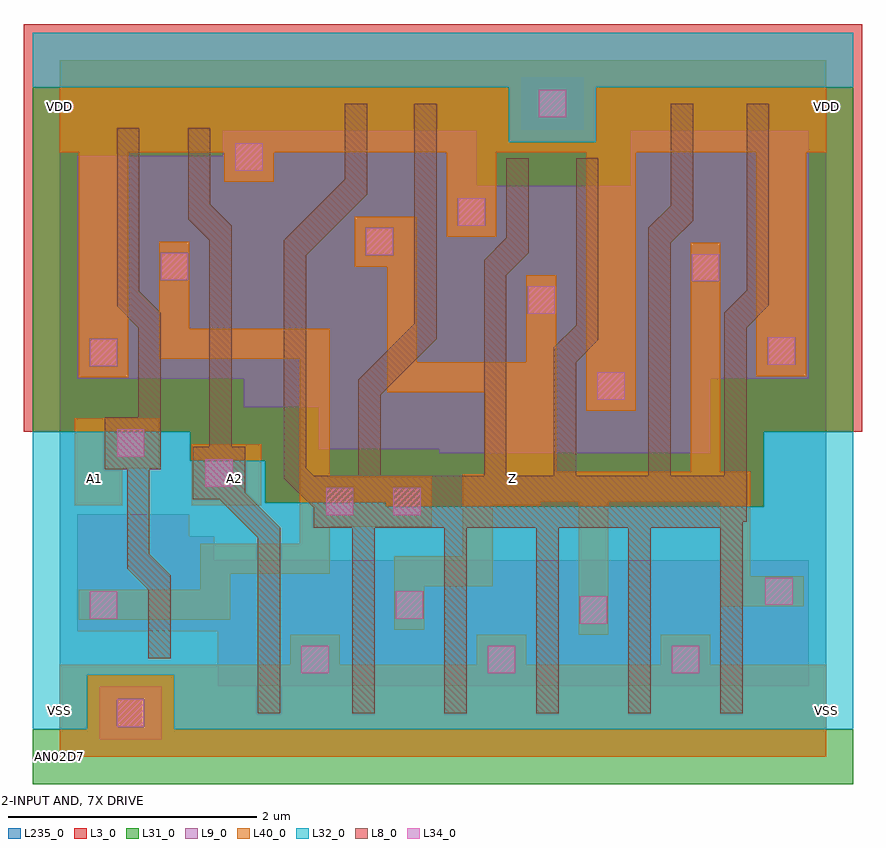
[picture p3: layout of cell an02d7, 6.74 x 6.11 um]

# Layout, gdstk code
import gdstk
lib = gdstk.Library(unit=1e-6, precision=1e-09)
def R(c, l, rs):  # rectangles x0, y0, x1, y1
    for r in rs: c.add(gdstk.rectangle(r[:2], r[2:], *l))
def P(c, l, *ps):  # polygons
    for p in ps: c.add(gdstk.Polygon(p, *l))
L3_0 = (3, 0)
L8_0 = (8, 0)
L9_0 = (9, 0)
L31_0 = (31, 0)
L32_0 = (32, 0)
L34_0 = (34, 0)
L40_0 = (40, 0)
L235_0 = (235, 0)

an02d7 = lib.new_cell('an02d7')
P(an02d7, L3_0, [(2.62,2.01),(2.62,2.04),(1.65,2.04),(1.65,2.38),(1.05,2.38),(1.05,2.61),(-0.29,2.61),(-0.29,5.89),(6.45,5.89),(6.45,2.61),(5.66,2.61),(5.66,2.01)])
P(an02d7, L8_0, [(1.59,0.35),(1.59,1.76),(1.28,2.07),(1.07,2.07),(1.07,2.49),(1.2,2.49),(1.2,4.15),(1.03,4.32),(1.03,5.05),(1.21,5.05),(1.21,4.44),(1.38,4.27),(1.38,2.49),(1.49,2.49),(1.49,2.12),(1.77,1.84),(1.77,0.35)],
  [(0.71,0.79),(0.71,1.34),(0.54,1.51),(0.54,2.31),(0.36,2.31),(0.36,2.73),(0.63,2.73),(0.63,3.45),(0.46,3.62),(0.46,5.05),(0.64,5.05),(0.64,3.74),(0.81,3.57),(0.81,2.31),(0.72,2.31),(0.72,1.63),(0.89,1.46),(0.89,0.79)],
  [(2.35,0.35),(2.35,1.84),(2.04,1.84),(2.04,2),(1.8,2.24),(1.8,4.15),(2.29,4.64),(2.29,5.25),(2.47,5.25),(2.47,4.52),(1.98,4.03),(1.98,2.32),(2.04,2.26),(2.4,2.26),(2.4,3.03),(2.85,3.48),(2.85,5.25),(3.03,5.25),(3.03,3.36),(2.58,2.91),(2.58,2.26),(3.41,2.26),(3.41,3.99),(3.59,4.17),(3.59,4.81),(3.77,4.81),(3.77,4.05),(3.59,3.87),(3.59,2.26),(3.97,2.26),(3.97,3.29),(4.15,3.47),(4.15,4.81),(4.33,4.81),(4.33,3.35),(4.15,3.17),(4.15,2.26),(4.73,2.26),(4.73,4.25),(4.91,4.43),(4.91,5.25),(5.09,5.25),(5.09,4.31),(4.91,4.13),(4.91,2.26),(5.34,2.26),(5.34,3.57),(5.52,3.75),(5.52,5.25),(5.7,5.25),(5.7,3.63),(5.52,3.45),(5.52,1.89),(5.49,1.89),(5.49,0.35),(5.31,0.35),(5.31,1.84),(4.75,1.84),(4.75,0.35),(4.57,0.35),(4.57,1.84),(4.01,1.84),(4.01,0.35),(3.83,0.35),(3.83,1.84),(3.27,1.84),(3.27,0.35),(3.09,0.35),(3.09,1.84),(2.53,1.84),(2.53,0.35)])
R(an02d7, L9_0, [(0.32,0.14,0.82,0.56), (3.71,5.04,4.21,5.46)])
P(an02d7, L9_0, [(1.27,0.57),(1.27,1.01),(0.14,1.01),(0.14,1.95),(1.04,1.95),(1.04,1.77),(1.24,1.77),(1.24,1.58),(6.02,1.58),(6.02,0.57)],
  [(3.05,2.44),(3.05,2.47),(2.08,2.47),(2.08,2.81),(1.48,2.81),(1.48,3.04),(0.14,3.04),(0.14,4.83),(1.31,4.83),(1.31,5.03),(3.35,5.03),(3.35,4.59),(4.59,4.59),(4.59,5.03),(6.02,5.03),(6.02,3.04),(5.23,3.04),(5.23,2.44)])
P(an02d7, L31_0, [(-0.22,-0.22),(-0.22,0.22),(0.22,0.22),(0.22,0.66),(0.92,0.66),(0.92,0.22),(6.38,0.22),(6.38,-0.22)],
  [(2.62,2.01),(2.62,2.04),(1.65,2.04),(1.65,2.38),(1.05,2.38),(1.05,2.61),(-0.22,2.61),(-0.22,5.38),(3.61,5.38),(3.61,4.94),(4.31,4.94),(4.31,5.38),(6.38,5.38),(6.38,2.61),(5.66,2.61),(5.66,2.01)])
P(an02d7, L32_0, [(-0.22,0.22),(-0.22,2.61),(1.05,2.61),(1.05,2.38),(1.65,2.38),(1.65,2.04),(2.62,2.04),(2.62,2.01),(5.66,2.01),(5.66,2.61),(6.38,2.61),(6.38,0.22),(0.92,0.22),(0.92,0.66),(0.22,0.66),(0.22,0.22)],
  [(3.61,4.94),(3.61,5.38),(-0.22,5.38),(-0.22,5.82),(6.38,5.82),(6.38,5.38),(4.31,5.38),(4.31,4.94)])
R(an02d7, L34_0, [(0.46,0.24,0.68,0.46), (1.94,0.67,2.16,0.89), (3.44,0.67,3.66,0.89), (4.92,0.67,5.14,0.89), (4.18,1.07,4.4,1.29), (0.24,1.11,0.46,1.33), (2.7,1.11,2.92,1.33), (5.67,1.22,5.89,1.44), (2.14,1.94,2.36,2.16), (2.68,1.94,2.9,2.16), (1.17,2.17,1.39,2.39), (0.46,2.41,0.68,2.63), (4.32,2.87,4.54,3.09), (0.24,3.14,0.46,3.36), (5.69,3.15,5.91,3.37), (3.76,3.56,3.98,3.78), (5.08,3.82,5.3,4.04), (0.81,3.83,1.03,4.05), (2.46,4.03,2.68,4.25), (3.2,4.27,3.42,4.49), (1.41,4.71,1.63,4.93), (3.85,5.14,4.07,5.36)])
R(an02d7, L40_0, [(1.06,2.02,1.62,2.51)])
P(an02d7, L40_0, [(0,0),(0,0.74),(1.85,0.74),(1.85,0.98),(2.25,0.98),(2.25,0.74),(3.35,0.74),(3.35,0.98),(3.75,0.98),(3.75,0.74),(4.83,0.74),(4.83,0.98),(5.23,0.98),(5.23,0.74),(6.16,0.74),(6.16,0)],
  [(0.12,2.02),(0.12,2.72),(0.8,2.72),(0.8,2.32),(0.5,2.32),(0.5,2.02)],
  [(0.15,1.1),(0.15,1.34),(1.13,1.34),(1.13,1.71),(1.93,1.71),(1.93,3.2),(0.8,3.2),(0.8,4.14),(1.04,4.14),(1.04,3.44),(2.17,3.44),(2.17,2.25),(2.99,2.25),(2.99,1.85),(2.17,1.85),(2.17,1.47),(1.37,1.47),(1.37,1.1)],
  [(4.17,0.98),(4.17,2.05),(3.86,2.05),(3.86,2.02),(3.48,2.02),(3.48,1.37),(2.93,1.37),(2.93,1.02),(2.69,1.02),(2.69,1.61),(3.24,1.61),(3.24,2.27),(3.42,2.27),(3.42,2.93),(2.63,2.93),(2.63,3.94),(2.37,3.94),(2.37,4.34),(2.87,4.34),(2.87,3.17),(3.75,3.17),(3.75,3.87),(3.99,3.87),(3.99,2.29),(5.07,2.29),(5.07,4.13),(5.31,4.13),(5.31,2.29),(5.55,2.29),(5.55,1.45),(5.98,1.45),(5.98,1.21),(5.31,1.21),(5.31,2.05),(4.41,2.05),(4.41,0.98)],
  [(4.23,2.78),(4.23,4.86),(3.51,4.86),(3.51,4.18),(3.11,4.18),(3.11,4.86),(1.72,4.86),(1.72,4.62),(1.32,4.62),(1.32,4.86),(0.55,4.86),(0.55,3.05),(0.15,3.05),(0.15,4.86),(0,4.86),(0,5.6),(6.16,5.6),(6.16,4.86),(6,4.86),(6,3.06),(5.6,3.06),(5.6,4.86),(4.63,4.86),(4.63,2.78)])
R(an02d7, L235_0, [(0,0,6.16,5.6)])
an02d7.add(gdstk.Label('Copyright (c) 2003, 2004 Synopsys, Inc.', (0,-1.6), layer=96, texttype=0))
an02d7.add(gdstk.Label('DT. 13-Aug-2002 12:45:26', (0,-1.2), layer=96, texttype=0))
an02d7.add(gdstk.Label('Rev. 2', (0,-0.8), layer=96, texttype=0))
an02d7.add(gdstk.Label('2-INPUT AND, 7X DRIVE', (0,-0.4), layer=96, texttype=0))
an02d7.add(gdstk.Label('AN02D7', (0,0), layer=96, texttype=0))
an02d7.add(gdstk.Label('Z', (3.64,2.24), layer=40, texttype=7))
an02d7.add(gdstk.Label('A2', (1.4,2.24), layer=40, texttype=7))
an02d7.add(gdstk.Label('A1', (0.28,2.24), layer=40, texttype=7))
an02d7.add(gdstk.Label('VSS', (6.16,0.37), layer=40, texttype=7))
an02d7.add(gdstk.Label('VDD', (6.16,5.23), layer=40, texttype=7))
an02d7.add(gdstk.Label('VSS', (0,0.37), layer=40, texttype=7))
an02d7.add(gdstk.Label('VDD', (0,5.23), layer=40, texttype=7))

lib.write_gds('an02d7.gds')
